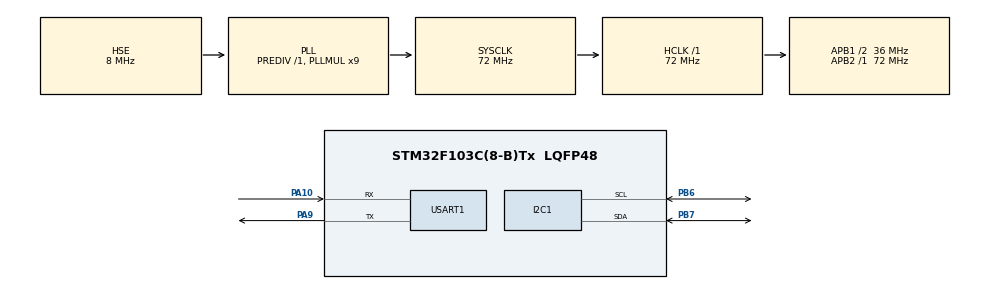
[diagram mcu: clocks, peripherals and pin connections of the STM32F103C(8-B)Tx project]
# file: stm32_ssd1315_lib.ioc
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Dma.I2C1_TX.0.Direction=DMA_MEMORY_TO_PERIPH
Dma.I2C1_TX.0.Instance=DMA1_Channel6
Dma.I2C1_TX.0.MemDataAlignment=DMA_MDATAALIGN_BYTE
Dma.I2C1_TX.0.MemInc=DMA_MINC_ENABLE
Dma.I2C1_TX.0.Mode=DMA_NORMAL
Dma.I2C1_TX.0.PeriphDataAlignment=DMA_PDATAALIGN_BYTE
Dma.I2C1_TX.0.PeriphInc=DMA_PINC_DISABLE
Dma.I2C1_TX.0.Priority=DMA_PRIORITY_LOW
Dma.Request0=I2C1_TX
I2C1.I2C_Mode=I2C_Fast
Mcu.Family=STM32F1
Mcu.Name=STM32F103C(8-B)Tx
Mcu.Package=LQFP48
NVIC.DMA1_Channel6_IRQn=true\:0\:0\:false\:false\:true\:false\:true\:true
NVIC.I2C1_ER_IRQn=true\:0\:0\:false\:false\:true\:true\:true\:true
NVIC.I2C1_EV_IRQn=true\:0\:0\:false\:false\:true\:true\:true\:true
NVIC.PriorityGroup=NVIC_PRIORITYGROUP_4
NVIC.USART1_IRQn=true\:0\:0\:false\:false\:true\:true\:true\:true
PA10.Mode=Asynchronous
PA10.Signal=USART1_RX
PA9.Mode=Asynchronous
PA9.Signal=USART1_TX
PB6.Mode=I2C
PB6.Signal=I2C1_SCL
PB7.Mode=I2C
PB7.Signal=I2C1_SDA
PD0-OSC_IN.Mode=HSE-External-Oscillator
PD0-OSC_IN.Signal=RCC_OSC_IN
PD1-OSC_OUT.Mode=HSE-External-Oscillator
PD1-OSC_OUT.Signal=RCC_OSC_OUT
ProjectManager.HeapSize=0x200
ProjectManager.StackSize=0x400
ProjectManager.TargetToolchain=STM32CubeIDE
RCC.AHBFreq_Value=72000000
RCC.APB1CLKDivider=RCC_HCLK_DIV2
RCC.APB1Freq_Value=36000000
RCC.APB1TimFreq_Value=72000000
RCC.APB2Freq_Value=72000000
RCC.APB2TimFreq_Value=72000000
RCC.HCLKFreq_Value=72000000
RCC.PLLMUL=RCC_PLL_MUL9
RCC.PLLSourceVirtual=RCC_PLLSOURCE_HSE
RCC.SYSCLKFreq_VALUE=72000000
RCC.SYSCLKSource=RCC_SYSCLKSOURCE_PLLCLK
RCC.USBFreq_Value=72000000
USART1.VirtualMode=VM_ASYNC
VP_SYS_VS_ND.Mode=No_Debug
board=custom

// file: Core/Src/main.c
/* USER CODE BEGIN Header */
/**
  ******************************************************************************
  * @file           : main.c
  * @brief          : Main program body
  ******************************************************************************
  * @attention
  *
  * Copyright (c) 2026 STMicroelectronics.
  * All rights reserved.
  *
  * This software is licensed under terms that can be found in the LICENSE file
  * in the root directory of this software component.
  * If no LICENSE file comes with this software, it is provided AS-IS.
  *
  ******************************************************************************
  */
/* USER CODE END Header */
#include "main.h"

/* USER CODE BEGIN Includes */
#include <stdio.h>
#include <string.h>
#include <stdarg.h>

#include "stm32_ssd1315.h"
/* USER CODE END Includes */

I2C_HandleTypeDef hi2c1;
DMA_HandleTypeDef hdma_i2c1_tx;

UART_HandleTypeDef huart1;

/* USER CODE BEGIN PV */
char uart_rx_buf[128];
char uart_tx_buf[128];
/* USER CODE END PV */

void SystemClock_Config(void);
static void MX_GPIO_Init(void);
static void MX_DMA_Init(void);
static void MX_I2C1_Init(void);
static void MX_USART1_UART_Init(void);
/* USER CODE BEGIN PFP */
void uart_send(const char *fmt, ...){
  va_list args;
  va_start(args, fmt);
  vsnprintf(uart_tx_buf, sizeof(uart_tx_buf), fmt, args);
  va_end(args);
  HAL_UART_Transmit(&huart1, (uint8_t*)uart_tx_buf, strlen(uart_tx_buf), 1000);
}
/* USER CODE END PFP */

int main(void)
{

  /* MCU Configuration--------------------------------------------------------*/

  /* Reset of all peripherals, Initializes the Flash interface and the Systick. */
  HAL_Init();

  /* Configure the system clock */
  SystemClock_Config();

  /* Initialize all configured peripherals */
  MX_GPIO_Init();
  MX_DMA_Init();
  MX_I2C1_Init();
  MX_USART1_UART_Init();
  /* USER CODE BEGIN 2 */
  uart_send("System start\r\n");
  HAL_Delay(1000);

  SSD1315_t oled1 = SSD1315_Init(&hi2c1, SSD1315_ADDR0); // blocking
  if (oled1.err != HAL_OK){
	  uart_send("Oled init failed\r\n");
	  while(1);
  }

  uint32_t last_update = 0;
  uint8_t toggle_pattern = 0x00;
  uint8_t mode = 0;
  /* USER CODE END 2 */

  /* Infinite loop */
  while (1)
  {

    /* USER CODE BEGIN 3 */
	  if (HAL_GetTick() - last_update >= 2000) {
		  if (SSD1315_GetPrtStatus(&oled1) == HAL_OK) {
			  last_update = HAL_GetTick();

			  switch (mode) {
			  	case 0: // test FillAll
			  		toggle_pattern = ~toggle_pattern;
			  		SSD1315_fb_FillAll(&oled1, toggle_pattern);
			  		SSD1315_WriteFullFrame(&oled1);

			  		mode++;
			  		break;

			  	case 1: // test SetPixel
			  		SSD1315_fb_FillAll(&oled1, 0x00);
			  		SSD1315_SetPixel(&oled1, 0, 0);
			  		SSD1315_SetPixel(&oled1, 0, 63);
			  		SSD1315_SetPixel(&oled1, 127, 0);
			  		SSD1315_SetPixel(&oled1, 127, 63);
			  		SSD1315_WriteFullFrame(&oled1);

			  		mode++;
			  		break;

			  	case 2: // test ClrPixel
			  		SSD1315_fb_FillAll(&oled1, 0xFF);
			  		SSD1315_ClrPixel(&oled1, 0, 0);
			  		SSD1315_ClrPixel(&oled1, 0, 63);
			  		SSD1315_ClrPixel(&oled1, 127, 0);
			  		SSD1315_ClrPixel(&oled1, 127, 63);
			  		SSD1315_WriteFullFrame(&oled1);

			  		mode++;
			  		break;

			    case 3: // test TogPixel
			  		SSD1315_TogPixel(&oled1, 63, 31);
			  		SSD1315_WriteFullFrame(&oled1);

			  		mode++;
			  		break;

			  	case 4: // test DrwLine_H
			  		SSD1315_fb_FillAll(&oled1, 0x00);

			  		SSD1315_DrwLine_H(&oled1, 10, 5, 117, 5);
			  		SSD1315_DrwLine_H(&oled1, 10, 58, 117, 58);
			  		SSD1315_DrwLine_H(&oled1, 10, 5, 10, 58);
			  		SSD1315_DrwLine_H(&oled1, 117, 5, 117, 58);

			  		SSD1315_DrwLine_H(&oled1, 63, 5, 117, 31);
			  		SSD1315_DrwLine_H(&oled1, 117, 31, 63, 58);
			  		SSD1315_DrwLine_H(&oled1, 63, 58, 10, 31);
			  		SSD1315_DrwLine_H(&oled1, 10, 31, 63, 5);

			  		SSD1315_WriteFullFrame(&oled1);

			  		mode++;
			  		break;

			    case 5: // test DrwLine_L
			  		SSD1315_fb_FillAll(&oled1, 0xFF);

			  		SSD1315_DrwLine_L(&oled1, 10, 5, 117, 5);
			  		SSD1315_DrwLine_L(&oled1, 10, 58, 117, 58);
			  		SSD1315_DrwLine_L(&oled1, 10, 5, 10, 58);
			  		SSD1315_DrwLine_L(&oled1, 117, 5, 117, 58);

			  		SSD1315_DrwLine_L(&oled1, 63, 5, 117, 31);
			  		SSD1315_DrwLine_L(&oled1, 117, 31, 63, 58);
			  		SSD1315_DrwLine_L(&oled1, 63, 58, 10, 31);
			  		SSD1315_DrwLine_L(&oled1, 10, 31, 63, 5);

			  		SSD1315_WriteFullFrame(&oled1);

			  		mode++;
			  		break;

			  	case 6:
			  		SSD1315_fb_FillAll(&oled1, 0x00);

			  		SSD1315_FillRect_H(&oled1, 4, 2, 56, 24);
			  		SSD1315_FillRect_H(&oled1, 68, 2, 56, 24);
			  		SSD1315_FillRect_H(&oled1, 4, 34, 56, 24);
			  		SSD1315_FillRect_H(&oled1, 68, 34, 56, 24);

			  		SSD1315_WriteFullFrame(&oled1);

			  		mode++;
			  		break;

			  	case 7:
				  	SSD1315_fb_FillAll(&oled1, 0xFF);

				  	SSD1315_FillRect_L(&oled1, 4, 2, 56, 24);
				  	SSD1315_FillRect_L(&oled1, 68, 2, 56, 24);
				  	SSD1315_FillRect_L(&oled1, 4, 34, 56, 24);
				  	SSD1315_FillRect_L(&oled1, 68, 34, 56, 24);

				  	SSD1315_WriteFullFrame(&oled1);

				  	mode++;
				  	break;

          case 8:
			  		SSD1315_fb_FillAll(&oled1, 0x00);

			  		SSD1315_DrawRect_H(&oled1, 4, 2, 56, 24);
			  		SSD1315_DrawRect_H(&oled1, 68, 2, 56, 24);
			  		SSD1315_DrawRect_H(&oled1, 4, 34, 56, 24);
			  		SSD1315_DrawRect_H(&oled1, 68, 34, 56, 24);

			  		SSD1315_WriteFullFrame(&oled1);

			  		mode++;
			  		break;

          case 9:
				  	SSD1315_fb_FillAll(&oled1, 0xFF);

				  	SSD1315_DrawRect_L(&oled1, 4, 2, 56, 24);
				  	SSD1315_DrawRect_L(&oled1, 68, 2, 56, 24);
				  	SSD1315_DrawRect_L(&oled1, 4, 34, 56, 24);
				  	SSD1315_DrawRect_L(&oled1, 68, 34, 56, 24);

				  	SSD1315_WriteFullFrame(&oled1);

				  	mode = 0;
				  	break;

			  	default:
			  	  mode = 0;
			  	  break;
			  }
		  }

		  else uart_send("I2C port busy\r\n");

	  }

	  	  HAL_Delay(20);
  }
  /* USER CODE END 3 */
}

void SystemClock_Config(void)
{
  RCC_OscInitTypeDef RCC_OscInitStruct = {0};
  RCC_ClkInitTypeDef RCC_ClkInitStruct = {0};

  /** Initializes the RCC Oscillators according to the specified parameters
  * in the RCC_OscInitTypeDef structure.
  */
  RCC_OscInitStruct.OscillatorType = RCC_OSCILLATORTYPE_HSE;
  RCC_OscInitStruct.HSEState = RCC_HSE_ON;
  RCC_OscInitStruct.HSEPredivValue = RCC_HSE_PREDIV_DIV1;
  RCC_OscInitStruct.HSIState = RCC_HSI_ON;
  RCC_OscInitStruct.PLL.PLLState = RCC_PLL_ON;
  RCC_OscInitStruct.PLL.PLLSource = RCC_PLLSOURCE_HSE;
  RCC_OscInitStruct.PLL.PLLMUL = RCC_PLL_MUL9;
  if (HAL_RCC_OscConfig(&RCC_OscInitStruct) != HAL_OK)
  {
    Error_Handler();
  }

  /** Initializes the CPU, AHB and APB buses clocks
  */
  RCC_ClkInitStruct.ClockType = RCC_CLOCKTYPE_HCLK|RCC_CLOCKTYPE_SYSCLK
                              |RCC_CLOCKTYPE_PCLK1|RCC_CLOCKTYPE_PCLK2;
  RCC_ClkInitStruct.SYSCLKSource = RCC_SYSCLKSOURCE_PLLCLK;
  RCC_ClkInitStruct.AHBCLKDivider = RCC_SYSCLK_DIV1;
  RCC_ClkInitStruct.APB1CLKDivider = RCC_HCLK_DIV2;
  RCC_ClkInitStruct.APB2CLKDivider = RCC_HCLK_DIV1;

  if (HAL_RCC_ClockConfig(&RCC_ClkInitStruct, FLASH_LATENCY_2) != HAL_OK)
  {
    Error_Handler();
  }
}

static void MX_I2C1_Init(void)
{

  hi2c1.Instance = I2C1;
  hi2c1.Init.ClockSpeed = 400000;
  hi2c1.Init.DutyCycle = I2C_DUTYCYCLE_2;
  hi2c1.Init.OwnAddress1 = 0;
  hi2c1.Init.AddressingMode = I2C_ADDRESSINGMODE_7BIT;
  hi2c1.Init.DualAddressMode = I2C_DUALADDRESS_DISABLE;
  hi2c1.Init.OwnAddress2 = 0;
  hi2c1.Init.GeneralCallMode = I2C_GENERALCALL_DISABLE;
  hi2c1.Init.NoStretchMode = I2C_NOSTRETCH_DISABLE;
  if (HAL_I2C_Init(&hi2c1) != HAL_OK)
  {
    Error_Handler();
  }

}

static void MX_USART1_UART_Init(void)
{

  huart1.Instance = USART1;
  huart1.Init.BaudRate = 115200;
  huart1.Init.WordLength = UART_WORDLENGTH_8B;
  huart1.Init.StopBits = UART_STOPBITS_1;
  huart1.Init.Parity = UART_PARITY_NONE;
  huart1.Init.Mode = UART_MODE_TX_RX;
  huart1.Init.HwFlowCtl = UART_HWCONTROL_NONE;
  huart1.Init.OverSampling = UART_OVERSAMPLING_16;
  if (HAL_UART_Init(&huart1) != HAL_OK)
  {
    Error_Handler();
  }

}

static void MX_DMA_Init(void)
{

  /* DMA controller clock enable */
  __HAL_RCC_DMA1_CLK_ENABLE();

  /* DMA interrupt init */
  /* DMA1_Channel6_IRQn interrupt configuration */
  HAL_NVIC_SetPriority(DMA1_Channel6_IRQn, 0, 0);
  HAL_NVIC_EnableIRQ(DMA1_Channel6_IRQn);

}

static void MX_GPIO_Init(void)
{

  /* GPIO Ports Clock Enable */
  __HAL_RCC_GPIOD_CLK_ENABLE();
  __HAL_RCC_GPIOA_CLK_ENABLE();
  __HAL_RCC_GPIOB_CLK_ENABLE();

}

void Error_Handler(void)
{
  __disable_irq();
  while (1)
  {
  }
}
